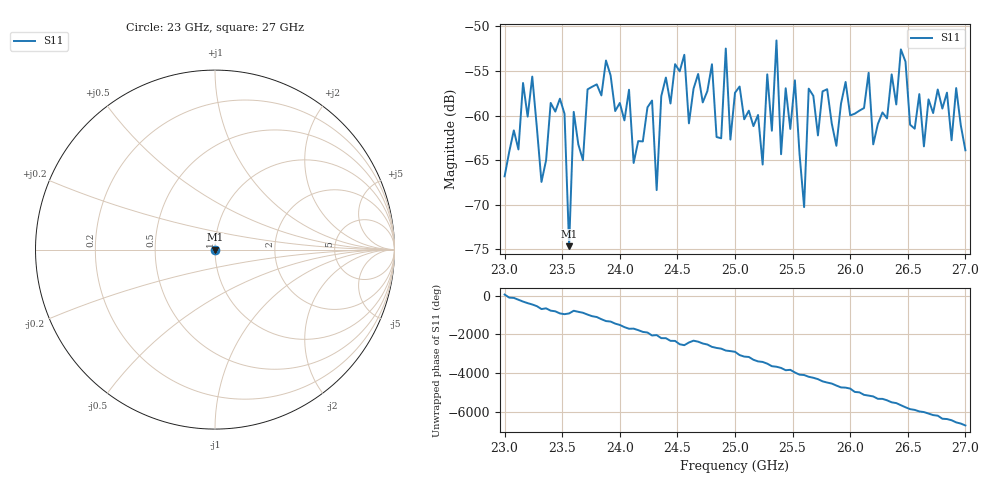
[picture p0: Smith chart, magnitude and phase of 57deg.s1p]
#  HZ  S  RI  R  50.00
! Rohde & Schwarz ZVA40 4Ports - Version 3.90 - 1145.1110k42 SN: 100403
! Date: 2023-09-26 11:12:02
! Measurement: S12
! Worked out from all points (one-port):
!   101 points, 23 GHz to 27 GHz, reference 50 ohm
!   lowest |S11| = -74.6 dB at 23.56 GHz (marker M1), VSWR 1.00, Z = 50 + j0.00747 ohm
!   |S11| at or under -10 dB: start of sweep to end of sweep
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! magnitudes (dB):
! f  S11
! 23 GHz  -66.8
! 23.16 GHz  -56.3
! 23.24 GHz  -55.6
! 23.32 GHz  -67.4
! 23.52 GHz  -59.8
! 23.56 GHz  -74.6
! 23.6 GHz  -59.6
! 24 GHz  -58.6
! 24.08 GHz  -57.1
! 24.12 GHz  -65.3
! 24.28 GHz  -58.3
! 24.32 GHz  -68.3
! 24.36 GHz  -57.8
! 24.52 GHz  -55.0
! 25 GHz  -57.4
! 25.24 GHz  -65.5
! 25.36 GHz  -51.6
! 25.4 GHz  -64.3
! 25.52 GHz  -56.0
! 25.6 GHz  -70.3
! 25.64 GHz  -57.0
! 26 GHz  -60.0
! 26.16 GHz  -55.2
! 26.2 GHz  -63.2
! 26.44 GHz  -52.6
! 26.52 GHz  -61.0
! 26.92 GHz  -56.9
! 27 GHz  -63.9
